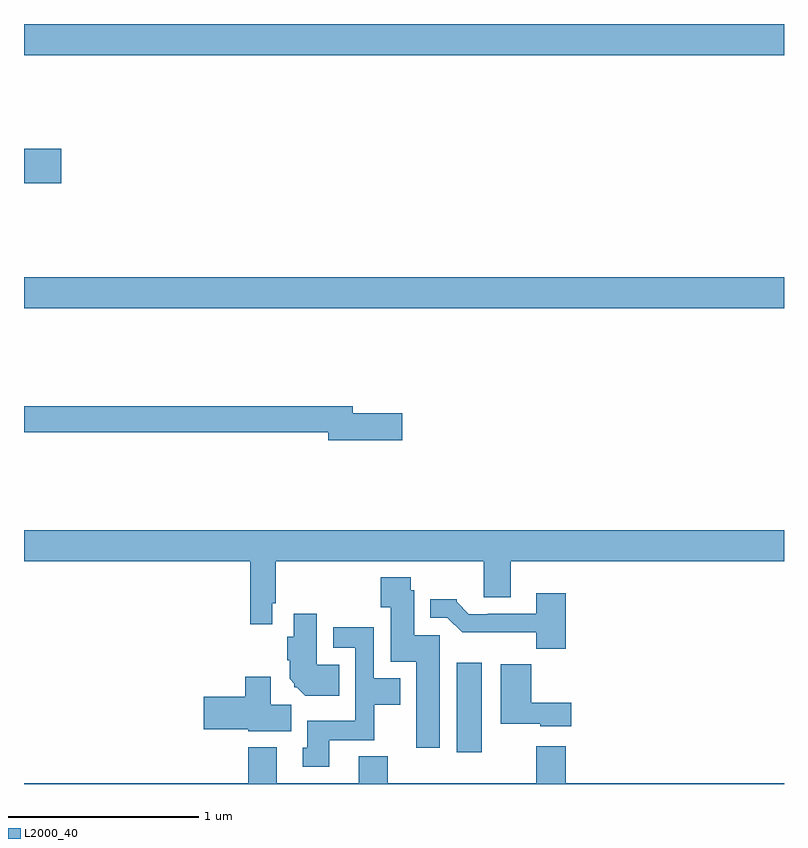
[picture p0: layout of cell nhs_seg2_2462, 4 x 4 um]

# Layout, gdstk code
import gdstk
lib = gdstk.Library(unit=1e-6, precision=1e-09)
def R(c, l, rs):  # rectangles x0, y0, x1, y1
    for r in rs: c.add(gdstk.rectangle(r[:2], r[2:], *l))
def P(c, l, *ps):  # polygons
    for p in ps: c.add(gdstk.Polygon(p, *l))
L2000_40 = (2000, 40)

nhs_seg2_2462 = lib.new_cell('nhs_seg2_2462')
R(nhs_seg2_2462, L2000_40, [(241.277,643.968,241.408,644.437), (239,646.304,243,646.468), (239,646.961,239.197,647.144), (239,647.636,243,647.8)])
P(nhs_seg2_2462, L2000_40, [(240.991,645.752),(240.73,645.752),(240.73,645.788),(239,645.788),(239,645.652),(240.602,645.652),(240.602,645.61),(240.991,645.61)],
  [(240.306,644.752),(240.326,644.752),(240.326,644.972),(241.421,644.972),(241.421,644.782),(241.561,644.782),(241.561,644.972),(243,644.972),(243,645.136),(239,645.136),(239,644.972),(240.19,644.972),(240.19,644.64),(240.306,644.64)],
  [(241.189,644.583),(241.054,644.583),(241.054,644.82),(241.035,644.82),(241.035,644.887),(240.878,644.887),(240.878,644.731),(240.929,644.731),(240.929,644.444),(241.064,644.444),(241.064,643.992),(241.189,643.992)],
  [(241.85,644.803),(241.697,644.803),(241.697,644.697),(241.441,644.697),(241.441,644.694),(241.342,644.694),(241.278,644.758),(241.278,644.773),(241.139,644.773),(241.139,644.676),(241.227,644.676),(241.306,644.598),(241.695,644.598),(241.695,644.513),(241.85,644.513)],
  [(240.659,644.428),(240.541,644.428),(240.541,644.695),(240.419,644.695),(240.419,644.574),(240.386,644.574),(240.386,644.452),(240.398,644.452),(240.398,644.353),(240.423,644.328),(240.423,644.31),(240.435,644.31),(240.481,644.264),(240.659,644.264)],
  [(240.607,644.03),(240.843,644.03),(240.843,644.216),(240.979,644.216),(240.979,644.356),(240.84,644.356),(240.84,644.626),(240.627,644.626),(240.627,644.517),(240.744,644.517),(240.744,644.134),(240.491,644.134),(240.491,643.992),(240.467,643.992),(240.467,643.89),(240.607,643.89)],
  [(241.879,644.227),(241.67,644.227),(241.67,644.431),(241.508,644.431),(241.508,644.117),(241.716,644.117),(241.716,644.105),(241.879,644.105)],
  [(240.406,644.217),(240.298,644.217),(240.298,644.365),(240.164,644.365),(240.164,644.258),(239.946,644.258),(239.946,644.087),(240.18,644.087),(240.18,644.078),(240.406,644.078)],
  [(243,643.804),(241.85,643.804),(241.85,643.999),(241.697,643.999),(241.697,643.804),(240.914,643.804),(240.914,643.945),(240.761,643.945),(240.761,643.804),(240.331,643.804),(240.331,643.993),(240.179,643.993),(240.179,643.804),(239,643.804),(239,643.8),(243,643.8)])

lib.write_gds('nhs_seg2_2462.gds')
